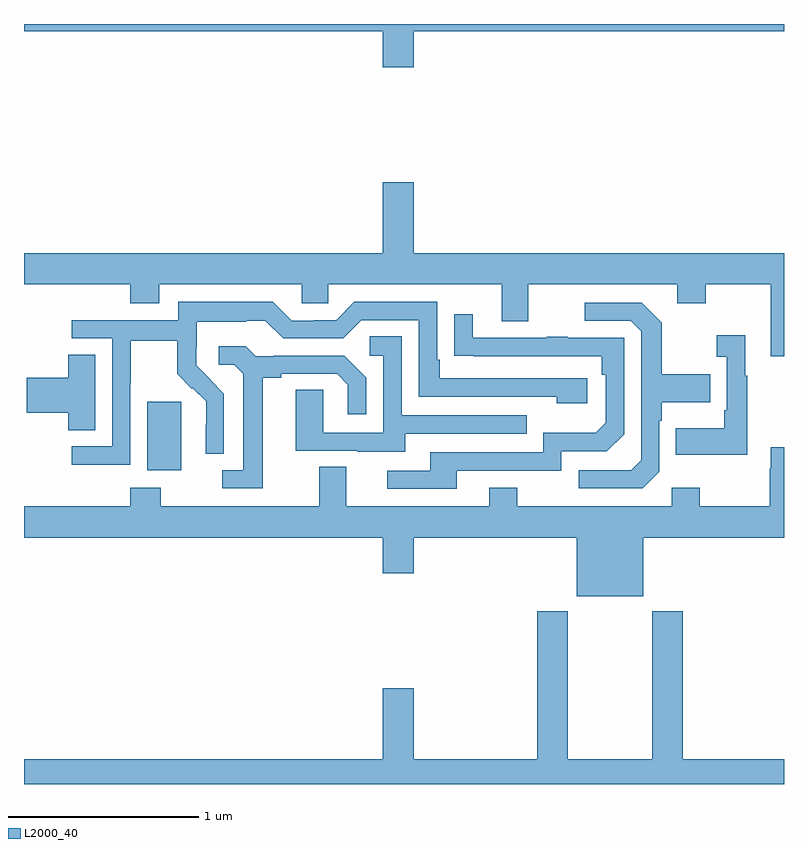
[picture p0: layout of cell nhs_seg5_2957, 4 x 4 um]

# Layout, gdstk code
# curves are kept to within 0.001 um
import gdstk
lib = gdstk.Library(unit=1e-6, precision=1e-09)
def R(c, l, rs):  # rectangles x0, y0, x1, y1
    for r in rs: c.add(gdstk.rectangle(r[:2], r[2:], *l))
def P(c, l, *ps):  # polygons
    for p in ps: c.add(gdstk.Polygon(p, *l))
L2000_40 = (2000, 40)

nhs_seg5_2957 = lib.new_cell('nhs_seg5_2957')
R(nhs_seg5_2957, L2000_40, [(283.649,854.45,283.828,854.811)])
P(nhs_seg5_2957, L2000_40, [(285.052,856.76),(287,856.76),(287,856.799),(283,856.799),(283,856.76),(284.888,856.76),(284.888,856.572),(285.052,856.572)],
  [(287,855.592),(285.052,855.592),(285.052,855.967),(284.888,855.967),(284.888,855.592),(283,855.592),(283,855.428),(283.559,855.428),(283.559,855.329),(283.711,855.329),(283.711,855.428),(284.463,855.428),(284.463,855.33),(284.601,855.33),(284.601,855.428),(285.515,855.428),(285.515,855.234),(285.655,855.234),(285.655,855.428),(286.439,855.428),(286.439,855.329),(286.587,855.329),(286.587,855.428),(286.931,855.428),(286.931,855.051),(287,855.051)],
  [(283.56,854.908),(283.563,854.908),(283.563,855.132),(283.807,855.132),(283.807,854.957),(283.884,854.88),(283.887,854.883),(283.958,854.813),(283.958,854.69),(283.956,854.69),(283.956,854.536),(284.052,854.536),(284.052,854.854),(283.906,855.002),(283.906,855.099),(283.908,855.099),(283.908,855.233),(284.171,855.233),(284.171,855.237),(284.271,855.237),(284.364,855.144),(284.679,855.144),(284.775,855.24),(285.078,855.24),(285.078,854.838),(285.803,854.838),(285.803,854.804),(285.964,854.804),(285.964,854.934),(285.187,854.934),(285.187,855.031),(285.174,855.031),(285.174,855.336),(284.739,855.336),(284.643,855.24),(284.525,855.24),(284.525,855.237),(284.409,855.237),(284.309,855.337),(283.812,855.337),(283.812,855.24),(283.251,855.24),(283.251,855.144),(283.464,855.144),(283.464,854.577),(283.251,854.577),(283.251,854.479),(283.56,854.479)],
  [(286.344,854.442),(286.344,854.711),(286.357,854.711),(286.357,854.807),(286.613,854.807),(286.613,854.955),(286.357,854.955),(286.357,855.227),(286.251,855.333),(285.951,855.333),(285.951,855.237),(286.194,855.237),(286.248,855.183),(286.248,854.502),(286.197,854.451),(285.921,854.451),(285.921,854.355),(286.257,854.355)],
  [(285.277,854.448),(285.828,854.448),(285.828,854.55),(286.068,854.55),(286.158,854.64),(286.158,855.147),(285.863,855.147),(285.863,855.152),(285.751,855.152),(285.751,855.147),(285.361,855.147),(285.361,855.271),(285.265,855.271),(285.265,855.052),(286.042,855.051),(286.042,854.954),(286.062,854.954),(286.062,854.7),(286.009,854.647),(285.732,854.647),(285.732,854.544),(285.137,854.544),(285.137,854.448),(284.913,854.448),(284.913,854.352),(285.277,854.352)],
  [(286.807,854.947),(286.795,854.947),(286.795,855.16),(286.647,855.16),(286.647,855.047),(286.698,855.047),(286.698,854.767),(286.686,854.767),(286.686,854.671),(286.429,854.671),(286.429,854.531),(286.807,854.531)],
  [(285.007,854.643),(285.647,854.643),(285.647,854.739),(284.988,854.739),(284.988,855.155),(284.82,855.155),(284.82,855.054),(284.892,855.054),(284.892,854.649),(284.574,854.649),(284.574,854.873),(284.429,854.873),(284.429,854.553),(284.753,854.553),(284.753,854.549),(285.007,854.549)],
  [(284.257,854.936),(284.353,854.936),(284.353,854.958),(284.648,854.958),(284.705,854.901),(284.705,854.745),(284.802,854.745),(284.802,854.938),(284.686,855.054),(284.314,855.054),(284.314,855.051),(284.22,855.051),(284.168,855.103),(284.025,855.103),(284.025,855.006),(284.106,855.006),(284.153,854.959),(284.153,854.451),(284.043,854.451),(284.043,854.355),(284.257,854.355)],
  [(283.375,855.059),(283.232,855.059),(283.232,854.936),(283.014,854.936),(283.014,854.753),(283.232,854.753),(283.232,854.662),(283.375,854.662)],
  [(286.258,854.096),(287,854.096),(287,854.572),(286.931,854.572),(286.931,854.459),(286.924,854.459),(286.924,854.26),(286.557,854.26),(286.557,854.359),(286.41,854.359),(286.41,854.26),(285.597,854.26),(285.597,854.359),(285.449,854.359),(285.449,854.26),(284.695,854.26),(284.695,854.468),(284.555,854.468),(284.555,854.26),(283.719,854.26),(283.719,854.359),(283.559,854.359),(283.559,854.26),(283,854.26),(283,854.096),(284.888,854.096),(284.888,853.908),(285.052,853.908),(285.052,854.096),(285.908,854.096),(285.908,853.787),(286.258,853.787)],
  [(287,852.928),(286.466,852.928),(286.466,853.708),(286.306,853.708),(286.306,852.928),(285.861,852.928),(285.861,853.708),(285.701,853.708),(285.701,852.928),(285.052,852.928),(285.052,853.303),(284.888,853.303),(284.888,852.928),(283,852.928),(283,852.799),(287,852.799)])

lib.write_gds('nhs_seg5_2957.gds')
